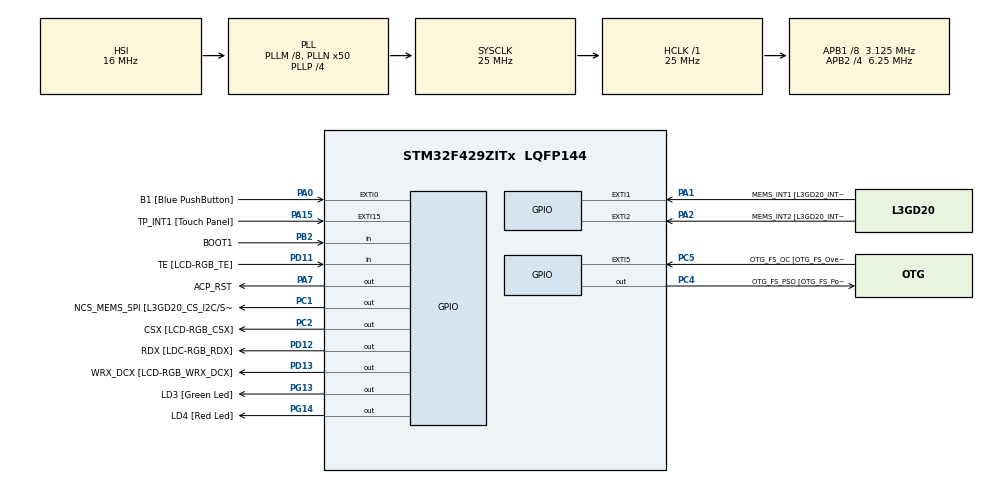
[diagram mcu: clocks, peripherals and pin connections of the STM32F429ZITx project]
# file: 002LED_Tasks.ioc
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Mcu.Family=STM32F4
Mcu.Name=STM32F429ZITx
Mcu.Package=LQFP144
NVIC.PriorityGroup=NVIC_PRIORITYGROUP_4
NVIC.TIM6_DAC_IRQn=true\:0\:0\:false\:false\:true\:false\:true
NVIC.TimeBase=TIM6_DAC_IRQn
NVIC.TimeBaseIP=TIM6
PA0/WKUP.GPIO_Label=B1 [Blue PushButton]
PA0/WKUP.GPIO_ModeDefaultEXTI=GPIO_MODE_EVT_RISING
PA0/WKUP.GPIO_PuPd=GPIO_NOPULL
PA0/WKUP.Signal=GPXTI0
PA1.GPIO_Label=MEMS_INT1 [L3GD20_INT1]
PA1.GPIO_ModeDefaultEXTI=GPIO_MODE_EVT_RISING
PA1.GPIO_PuPd=GPIO_NOPULL
PA1.Signal=GPXTI1
PA10.GPIO_Label=STLINK_TX [STM32F103CBT6_PA2]
PA10.Signal=USART1_RX
PA11.GPIO_Label=R4
PA11.GPIO_Mode=GPIO_MODE_AF_PP
PA11.GPIO_PuPd=GPIO_NOPULL
PA11.GPIO_Speed=GPIO_SPEED_FREQ_LOW
PA11.Signal=LTDC_R4
PA12.GPIO_Label=R5
PA12.GPIO_Mode=GPIO_MODE_AF_PP
PA12.GPIO_PuPd=GPIO_NOPULL
PA12.GPIO_Speed=GPIO_SPEED_FREQ_LOW
PA12.Signal=LTDC_R5
PA13.GPIO_Label=SWDIO
PA13.Signal=SYS_JTMS-SWDIO
PA14.GPIO_Label=SWCLK
PA14.Signal=SYS_JTCK-SWCLK
PA15.GPIO_Label=TP_INT1 [Touch Panel]
PA15.GPIO_ModeDefaultEXTI=GPIO_MODE_EVT_RISING
PA15.GPIO_PuPd=GPIO_NOPULL
PA15.Signal=GPXTI15
PA2.GPIO_Label=MEMS_INT2 [L3GD20_INT2]
PA2.GPIO_ModeDefaultEXTI=GPIO_MODE_EVT_RISING
PA2.GPIO_PuPd=GPIO_NOPULL
PA2.Signal=GPXTI2
PA3.GPIO_Label=B5
PA3.GPIO_Mode=GPIO_MODE_AF_PP
PA3.GPIO_PuPd=GPIO_NOPULL
PA3.GPIO_Speed=GPIO_SPEED_FREQ_LOW
PA3.Signal=LTDC_B5
PA4.GPIO_Label=VSYNC
PA4.GPIO_Mode=GPIO_MODE_AF_PP
PA4.GPIO_PuPd=GPIO_NOPULL
PA4.GPIO_Speed=GPIO_SPEED_FREQ_LOW
PA4.Signal=LTDC_VSYNC
PA6.GPIO_Label=G2
PA6.GPIO_Mode=GPIO_MODE_AF_PP
PA6.GPIO_PuPd=GPIO_NOPULL
PA6.GPIO_Speed=GPIO_SPEED_FREQ_LOW
PA6.Signal=LTDC_G2
PA7.GPIO_Label=ACP_RST
PA7.GPIO_Mode=GPIO_MODE_OUTPUT_PP
PA7.GPIO_PuPd=GPIO_NOPULL
PA7.GPIO_Speed=GPIO_SPEED_FREQ_LOW
PA7.Signal=GPIO_Output
PA8.GPIO_Label=I2C3_SCL [ACP/RF_SCL]
PA8.GPIO_Mode=GPIO_MODE_AF_OD
PA8.GPIO_PuPd=GPIO_NOPULL
PA8.GPIO_Speed=GPIO_SPEED_FREQ_LOW
PA8.Signal=I2C3_SCL
PA9.GPIO_Label=STLINK_RX [STM32F103CBT6_PA3]
PA9.Signal=USART1_TX
PB0.GPIO_Label=R3
PB0.GPIO_Mode=GPIO_MODE_AF_PP
PB0.GPIO_PuPd=GPIO_NOPULL
PB0.GPIO_Speed=GPIO_SPEED_FREQ_LOW
PB0.Signal=LTDC_R3
PB1.GPIO_Label=R6
PB1.GPIO_Mode=GPIO_MODE_AF_PP
PB1.GPIO_PuPd=GPIO_NOPULL
PB1.GPIO_Speed=GPIO_SPEED_FREQ_LOW
PB1.Signal=LTDC_R6
PB10.GPIO_Label=G4
PB10.GPIO_Mode=GPIO_MODE_AF_PP
PB10.GPIO_PuPd=GPIO_NOPULL
PB10.GPIO_Speed=GPIO_SPEED_FREQ_LOW
PB10.Signal=LTDC_G4
PB11.GPIO_Label=G5
PB11.GPIO_Mode=GPIO_MODE_AF_PP
PB11.GPIO_PuPd=GPIO_NOPULL
PB11.GPIO_Speed=GPIO_SPEED_FREQ_LOW
PB11.Signal=LTDC_G5
PB12.GPIO_Label=OTG_HS_ID
PB12.GPIO_Mode=GPIO_MODE_AF_PP
PB12.GPIO_PuPd=GPIO_NOPULL
PB12.GPIO_Speed=GPIO_SPEED_FREQ_LOW
PB12.Signal=USB_OTG_HS_ID
PB13.GPIO_Label=VBUS_HS
PB13.GPIO_Mode=GPIO_MODE_INPUT
PB13.GPIO_PuPd=GPIO_NOPULL
PB13.Signal=USB_OTG_HS_VBUS
PB14.GPIO_Label=OTG_HS_DM
PB14.GPIO_Mode=GPIO_MODE_AF_PP
PB14.GPIO_PuPd=GPIO_NOPULL
PB14.GPIO_Speed=GPIO_SPEED_FREQ_LOW
PB14.Signal=USB_OTG_HS_DM
PB15.GPIO_Label=OTG_HS_DP
PB15.GPIO_Mode=GPIO_MODE_AF_PP
PB15.GPIO_PuPd=GPIO_NOPULL
PB15.GPIO_Speed=GPIO_SPEED_FREQ_LOW
PB15.Signal=USB_OTG_HS_DP
PB2/BOOT1.GPIO_Label=BOOT1
PB2/BOOT1.GPIO_Mode=GPIO_MODE_INPUT
PB2/BOOT1.GPIO_PuPd=GPIO_NOPULL
PB2/BOOT1.Signal=GPIO_Input
PB5.GPIO_Label=SDCKE1
PB5.GPIO_Mode=GPIO_MODE_AF_PP
PB5.GPIO_PuPd=GPIO_NOPULL
PB5.GPIO_Speed=GPIO_SPEED_FREQ_VERY_HIGH
PB5.Signal=FMC_SDCKE1
PB6.GPIO_Label=SDNE1 [SDRAM_CS]
PB6.GPIO_Mode=GPIO_MODE_AF_PP
PB6.GPIO_PuPd=GPIO_NOPULL
PB6.GPIO_Speed=GPIO_SPEED_FREQ_VERY_HIGH
PB6.Signal=FMC_SDNE1
PB8.GPIO_Label=B6
PB8.GPIO_Mode=GPIO_MODE_AF_PP
PB8.GPIO_PuPd=GPIO_NOPULL
PB8.GPIO_Speed=GPIO_SPEED_FREQ_LOW
PB8.Signal=LTDC_B6
PB9.GPIO_Label=B7
PB9.GPIO_Mode=GPIO_MODE_AF_PP
PB9.GPIO_PuPd=GPIO_NOPULL
PB9.GPIO_Speed=GPIO_SPEED_FREQ_LOW
PB9.Signal=LTDC_B7
PC0.GPIO_Label=SDNWE
PC0.GPIO_Mode=GPIO_MODE_AF_PP
PC0.GPIO_PuPd=GPIO_NOPULL
PC0.GPIO_Speed=GPIO_SPEED_FREQ_VERY_HIGH
PC0.Signal=FMC_SDNWE
PC1.GPIO_Label=NCS_MEMS_SPI [L3GD20_CS_I2C/SPI]
PC1.GPIO_Mode=GPIO_MODE_OUTPUT_PP
PC1.GPIO_PuPd=GPIO_NOPULL
PC1.GPIO_Speed=GPIO_SPEED_FREQ_LOW
PC1.Signal=GPIO_Output
PC10.GPIO_Label=R2
PC10.GPIO_Mode=GPIO_MODE_AF_PP
PC10.GPIO_PuPd=GPIO_NOPULL
PC10.GPIO_Speed=GPIO_SPEED_FREQ_LOW
PC10.Signal=LTDC_R2
PC14/OSC32_IN.GPIO_Label=PC14-OSC32_IN
PC14/OSC32_IN.Signal=RCC_OSC32_IN
PC15/OSC32_OUT.GPIO_Label=PC15-OSC32_OUT
PC15/OSC32_OUT.Signal=RCC_OSC32_OUT
PC2.GPIO_Label=CSX [LCD-RGB_CSX]
PC2.GPIO_Mode=GPIO_MODE_OUTPUT_PP
PC2.GPIO_PuPd=GPIO_NOPULL
PC2.GPIO_Speed=GPIO_SPEED_FREQ_LOW
PC2.Signal=GPIO_Output
PC4.GPIO_Label=OTG_FS_PSO [OTG_FS_PowerSwitchOn]
PC4.GPIO_Mode=GPIO_MODE_OUTPUT_PP
PC4.GPIO_PuPd=GPIO_NOPULL
PC4.GPIO_Speed=GPIO_SPEED_FREQ_LOW
PC4.Signal=GPIO_Output
PC5.GPIO_Label=OTG_FS_OC [OTG_FS_OverCurrent]
PC5.GPIO_ModeDefaultEXTI=GPIO_MODE_EVT_RISING
PC5.Signal=GPXTI5
PC6.GPIO_Label=HSYNC
PC6.GPIO_Mode=GPIO_MODE_AF_PP
PC6.GPIO_PuPd=GPIO_NOPULL
PC6.GPIO_Speed=GPIO_SPEED_FREQ_LOW
PC6.Signal=LTDC_HSYNC
PC7.GPIO_Label=G6
PC7.GPIO_Mode=GPIO_MODE_AF_PP
PC7.GPIO_PuPd=GPIO_NOPULL
PC7.GPIO_Speed=GPIO_SPEED_FREQ_LOW
PC7.Signal=LTDC_G6
PC9.GPIO_Label=I2C3_SDA [ACP/RF_SDA]
PC9.GPIO_Mode=GPIO_MODE_AF_OD
PC9.GPIO_PuPd=GPIO_NOPULL
PC9.GPIO_Speed=GPIO_SPEED_FREQ_LOW
PC9.Signal=I2C3_SDA
PD0.GPIO_Label=D2
PD0.GPIO_Mode=GPIO_MODE_AF_PP
PD0.GPIO_PuPd=GPIO_NOPULL
PD0.GPIO_Speed=GPIO_SPEED_FREQ_VERY_HIGH
PD0.Signal=FMC_D2_DA2
PD1.GPIO_Label=D3
PD1.GPIO_Mode=GPIO_MODE_AF_PP
PD1.GPIO_PuPd=GPIO_NOPULL
PD1.GPIO_Speed=GPIO_SPEED_FREQ_VERY_HIGH
PD1.Signal=FMC_D3_DA3
PD10.GPIO_Label=D15
PD10.GPIO_Mode=GPIO_MODE_AF_PP
PD10.GPIO_PuPd=GPIO_NOPULL
PD10.GPIO_Speed=GPIO_SPEED_FREQ_VERY_HIGH
PD10.Signal=FMC_D15_DA15
PD11.GPIO_Label=TE [LCD-RGB_TE]
PD11.GPIO_Mode=GPIO_MODE_INPUT
PD11.GPIO_PuPd=GPIO_NOPULL
PD11.Signal=GPIO_Input
PD12.GPIO_Label=RDX [LDC-RGB_RDX]
PD12.GPIO_Mode=GPIO_MODE_OUTPUT_PP
PD12.GPIO_PuPd=GPIO_NOPULL
PD12.GPIO_Speed=GPIO_SPEED_FREQ_LOW
PD12.Signal=GPIO_Output
PD13.GPIO_Label=WRX_DCX [LCD-RGB_WRX_DCX]
PD13.GPIO_Mode=GPIO_MODE_OUTPUT_PP
PD13.GPIO_PuPd=GPIO_NOPULL
PD13.GPIO_Speed=GPIO_SPEED_FREQ_LOW
PD13.Signal=GPIO_Output
PD14.GPIO_Label=D0
PD14.GPIO_Mode=GPIO_MODE_AF_PP
PD14.GPIO_PuPd=GPIO_NOPULL
PD14.GPIO_Speed=GPIO_SPEED_FREQ_VERY_HIGH
PD14.Signal=FMC_D0_DA0
PD15.GPIO_Label=D1
PD15.GPIO_Mode=GPIO_MODE_AF_PP
PD15.GPIO_PuPd=GPIO_NOPULL
PD15.GPIO_Speed=GPIO_SPEED_FREQ_VERY_HIGH
PD15.Signal=FMC_D1_DA1
PD3.GPIO_Label=G7
PD3.GPIO_Mode=GPIO_MODE_AF_PP
PD3.GPIO_PuPd=GPIO_NOPULL
PD3.GPIO_Speed=GPIO_SPEED_FREQ_LOW
PD3.Signal=LTDC_G7
PD6.GPIO_Label=B2
PD6.GPIO_Mode=GPIO_MODE_AF_PP
PD6.GPIO_PuPd=GPIO_NOPULL
PD6.GPIO_Speed=GPIO_SPEED_FREQ_LOW
PD6.Signal=LTDC_B2
PD8.GPIO_Label=D13
PD8.GPIO_Mode=GPIO_MODE_AF_PP
PD8.GPIO_PuPd=GPIO_NOPULL
PD8.GPIO_Speed=GPIO_SPEED_FREQ_VERY_HIGH
PD8.Signal=FMC_D13_DA13
PD9.GPIO_Label=D14
PD9.GPIO_Mode=GPIO_MODE_AF_PP
PD9.GPIO_PuPd=GPIO_NOPULL
PD9.GPIO_Speed=GPIO_SPEED_FREQ_VERY_HIGH
PD9.Signal=FMC_D14_DA14
PE0.GPIO_Label=NBL0 [SDRAM_LDQM]
PE0.GPIO_Mode=GPIO_MODE_AF_PP
PE0.GPIO_PuPd=GPIO_NOPULL
PE0.GPIO_Speed=GPIO_SPEED_FREQ_VERY_HIGH
PE0.Signal=FMC_NBL0
PE1.GPIO_Label=NBL1 [SDRAM_UDQM]
PE1.GPIO_Mode=GPIO_MODE_AF_PP
PE1.GPIO_PuPd=GPIO_NOPULL
PE1.GPIO_Speed=GPIO_SPEED_FREQ_VERY_HIGH
PE1.Signal=FMC_NBL1
PE10.GPIO_Label=D7
PE10.GPIO_Mode=GPIO_MODE_AF_PP
PE10.GPIO_PuPd=GPIO_NOPULL
PE10.GPIO_Speed=GPIO_SPEED_FREQ_VERY_HIGH
PE10.Signal=FMC_D7_DA7
PE11.GPIO_Label=D8
PE11.GPIO_Mode=GPIO_MODE_AF_PP
PE11.GPIO_PuPd=GPIO_NOPULL
PE11.GPIO_Speed=GPIO_SPEED_FREQ_VERY_HIGH
PE11.Signal=FMC_D8_DA8
PE12.GPIO_Label=D9
PE12.GPIO_Mode=GPIO_MODE_AF_PP
PE12.GPIO_PuPd=GPIO_NOPULL
PE12.GPIO_Speed=GPIO_SPEED_FREQ_VERY_HIGH
PE12.Signal=FMC_D9_DA9
PE13.GPIO_Label=D10
PE13.GPIO_Mode=GPIO_MODE_AF_PP
PE13.GPIO_PuPd=GPIO_NOPULL
PE13.GPIO_Speed=GPIO_SPEED_FREQ_VERY_HIGH
PE13.Signal=FMC_D10_DA10
PE14.GPIO_Label=D11
PE14.GPIO_Mode=GPIO_MODE_AF_PP
PE14.GPIO_PuPd=GPIO_NOPULL
PE14.GPIO_Speed=GPIO_SPEED_FREQ_VERY_HIGH
PE14.Signal=FMC_D11_DA11
PE15.GPIO_Label=D12
PE15.GPIO_Mode=GPIO_MODE_AF_PP
PE15.GPIO_PuPd=GPIO_NOPULL
PE15.GPIO_Speed=GPIO_SPEED_FREQ_VERY_HIGH
PE15.Signal=FMC_D12_DA12
PE7.GPIO_Label=D4
PE7.GPIO_Mode=GPIO_MODE_AF_PP
PE7.GPIO_PuPd=GPIO_NOPULL
PE7.GPIO_Speed=GPIO_SPEED_FREQ_VERY_HIGH
PE7.Signal=FMC_D4_DA4
PE8.GPIO_Label=D5
PE8.GPIO_Mode=GPIO_MODE_AF_PP
PE8.GPIO_PuPd=GPIO_NOPULL
PE8.GPIO_Speed=GPIO_SPEED_FREQ_VERY_HIGH
PE8.Signal=FMC_D5_DA5
PE9.GPIO_Label=D6
PE9.GPIO_Mode=GPIO_MODE_AF_PP
PE9.GPIO_PuPd=GPIO_NOPULL
PE9.GPIO_Speed=GPIO_SPEED_FREQ_VERY_HIGH
PE9.Signal=FMC_D6_DA6
PF0.GPIO_Label=A0
PF0.GPIO_Mode=GPIO_MODE_AF_PP
PF0.GPIO_PuPd=GPIO_NOPULL
PF0.GPIO_Speed=GPIO_SPEED_FREQ_VERY_HIGH
PF0.Signal=FMC_A0
PF1.GPIO_Label=A1
PF1.GPIO_Mode=GPIO_MODE_AF_PP
PF1.GPIO_PuPd=GPIO_NOPULL
PF1.GPIO_Speed=GPIO_SPEED_FREQ_VERY_HIGH
PF1.Signal=FMC_A1
PF10.GPIO_Label=ENABLE [LCD-RGB_ENABLE]
PF10.GPIO_Mode=GPIO_MODE_AF_PP
PF10.GPIO_PuPd=GPIO_NOPULL
PF10.GPIO_Speed=GPIO_SPEED_FREQ_LOW
PF10.Signal=LTDC_DE
PF11.GPIO_Label=SDNRAS
PF11.GPIO_Mode=GPIO_MODE_AF_PP
PF11.GPIO_PuPd=GPIO_NOPULL
PF11.GPIO_Speed=GPIO_SPEED_FREQ_VERY_HIGH
PF11.Signal=FMC_SDNRAS
PF12.GPIO_Label=A6
PF12.GPIO_Mode=GPIO_MODE_AF_PP
PF12.GPIO_PuPd=GPIO_NOPULL
PF12.GPIO_Speed=GPIO_SPEED_FREQ_VERY_HIGH
PF12.Signal=FMC_A6
PF13.GPIO_Label=A7
PF13.GPIO_Mode=GPIO_MODE_AF_PP
PF13.GPIO_PuPd=GPIO_NOPULL
PF13.GPIO_Speed=GPIO_SPEED_FREQ_VERY_HIGH
PF13.Signal=FMC_A7
PF14.GPIO_Label=A8
PF14.GPIO_Mode=GPIO_MODE_AF_PP
PF14.GPIO_PuPd=GPIO_NOPULL
PF14.GPIO_Speed=GPIO_SPEED_FREQ_VERY_HIGH
PF14.Signal=FMC_A8
PF15.GPIO_Label=A9
PF15.GPIO_Mode=GPIO_MODE_AF_PP
PF15.GPIO_PuPd=GPIO_NOPULL
PF15.GPIO_Speed=GPIO_SPEED_FREQ_VERY_HIGH
PF15.Signal=FMC_A9
PF2.GPIO_Label=A2
PF2.GPIO_Mode=GPIO_MODE_AF_PP
PF2.GPIO_PuPd=GPIO_NOPULL
PF2.GPIO_Speed=GPIO_SPEED_FREQ_VERY_HIGH
PF2.Signal=FMC_A2
PF3.GPIO_Label=A3
PF3.GPIO_Mode=GPIO_MODE_AF_PP
PF3.GPIO_PuPd=GPIO_NOPULL
PF3.GPIO_Speed=GPIO_SPEED_FREQ_VERY_HIGH
PF3.Signal=FMC_A3
PF4.GPIO_Label=A4
PF4.GPIO_Mode=GPIO_MODE_AF_PP
PF4.GPIO_PuPd=GPIO_NOPULL
PF4.GPIO_Speed=GPIO_SPEED_FREQ_VERY_HIGH
PF4.Signal=FMC_A4
PF5.GPIO_Label=A5
PF5.GPIO_Mode=GPIO_MODE_AF_PP
PF5.GPIO_PuPd=GPIO_NOPULL
PF5.GPIO_Speed=GPIO_SPEED_FREQ_VERY_HIGH
PF5.Signal=FMC_A5
PF7.GPIO_Label=SPI5_SCK [L3GD20_SCL/SPC]
PF7.GPIO_Mode=GPIO_MODE_AF_PP
PF7.GPIO_PuPd=GPIO_NOPULL
PF7.GPIO_Speed=GPIO_SPEED_FREQ_LOW
PF7.Signal=SPI5_SCK
PF8.GPIO_Label=SPI5_MISO [L3GD20_SDO]
PF8.GPIO_Mode=GPIO_MODE_AF_PP
PF8.GPIO_PuPd=GPIO_NOPULL
PF8.GPIO_Speed=GPIO_SPEED_FREQ_LOW
PF8.Signal=SPI5_MISO
PF9.GPIO_Label=SPI5_MOSI [L3GD20_SDA/SDI/SDO]
PF9.GPIO_Mode=GPIO_MODE_AF_PP
PF9.GPIO_PuPd=GPIO_NOPULL
PF9.GPIO_Speed=GPIO_SPEED_FREQ_LOW
PF9.Signal=SPI5_MOSI
PG0.GPIO_Label=A10
PG0.GPIO_Mode=GPIO_MODE_AF_PP
PG0.GPIO_PuPd=GPIO_NOPULL
PG0.GPIO_Speed=GPIO_SPEED_FREQ_VERY_HIGH
PG0.Signal=FMC_A10
PG1.GPIO_Label=A11
PG1.GPIO_Mode=GPIO_MODE_AF_PP
PG1.GPIO_PuPd=GPIO_NOPULL
PG1.GPIO_Speed=GPIO_SPEED_FREQ_VERY_HIGH
PG1.Signal=FMC_A11
PG10.GPIO_Label=G3
PG10.GPIO_Mode=GPIO_MODE_AF_PP
PG10.GPIO_PuPd=GPIO_NOPULL
PG10.GPIO_Speed=GPIO_SPEED_FREQ_LOW
PG10.Signal=LTDC_G3
PG11.GPIO_Label=B3
PG11.GPIO_Mode=GPIO_MODE_AF_PP
PG11.GPIO_PuPd=GPIO_NOPULL
PG11.GPIO_Speed=GPIO_SPEED_FREQ_LOW
PG11.Signal=LTDC_B3
PG12.GPIO_Label=B4
PG12.GPIO_Mode=GPIO_MODE_AF_PP
PG12.GPIO_PuPd=GPIO_NOPULL
PG12.GPIO_Speed=GPIO_SPEED_FREQ_LOW
PG12.Signal=LTDC_B4
PG13.GPIO_Label=LD3 [Green Led]
PG13.GPIO_Mode=GPIO_MODE_OUTPUT_PP
PG13.GPIO_PuPd=GPIO_NOPULL
PG13.GPIO_Speed=GPIO_SPEED_FREQ_LOW
PG13.Signal=GPIO_Output
PG14.GPIO_Label=LD4 [Red Led]
PG14.GPIO_Mode=GPIO_MODE_OUTPUT_PP
PG14.GPIO_PuPd=GPIO_NOPULL
PG14.GPIO_Speed=GPIO_SPEED_FREQ_LOW
PG14.Signal=GPIO_Output
PG15.GPIO_Label=SDNCAS
PG15.GPIO_Mode=GPIO_MODE_AF_PP
PG15.GPIO_PuPd=GPIO_NOPULL
PG15.GPIO_Speed=GPIO_SPEED_FREQ_VERY_HIGH
PG15.Signal=FMC_SDNCAS
PG4.GPIO_Label=BA0
PG4.GPIO_Mode=GPIO_MODE_AF_PP
PG4.GPIO_PuPd=GPIO_NOPULL
PG4.GPIO_Speed=GPIO_SPEED_FREQ_VERY_HIGH
PG4.Signal=FMC_A14_BA0
PG5.GPIO_Label=BA1
PG5.GPIO_Mode=GPIO_MODE_AF_PP
PG5.GPIO_PuPd=GPIO_NOPULL
PG5.GPIO_Speed=GPIO_SPEED_FREQ_VERY_HIGH
PG5.Signal=FMC_A15_BA1
PG6.GPIO_Label=R7
PG6.GPIO_Mode=GPIO_MODE_AF_PP
PG6.GPIO_PuPd=GPIO_NOPULL
PG6.GPIO_Speed=GPIO_SPEED_FREQ_LOW
PG6.Signal=LTDC_R7
PG7.GPIO_Label=DOTCLK [LCT-RGB_DOTCLK]
PG7.GPIO_Mode=GPIO_MODE_AF_PP
PG7.GPIO_PuPd=GPIO_NOPULL
PG7.GPIO_Speed=GPIO_SPEED_FREQ_LOW
PG7.Signal=LTDC_CLK
PG8.GPIO_Label=SDCLK
PG8.GPIO_Mode=GPIO_MODE_AF_PP
PG8.GPIO_PuPd=GPIO_NOPULL
PG8.GPIO_Speed=GPIO_SPEED_FREQ_VERY_HIGH
PG8.Signal=FMC_SDCLK
PH0/OSC_IN.GPIO_Label=PH0-OSC_IN
PH0/OSC_IN.Signal=RCC_OSC_IN
PH1/OSC_OUT.GPIO_Label=PH1-OSC_OUT
PH1/OSC_OUT.Signal=RCC_OSC_OUT
ProjectManager.HeapSize=0x200
ProjectManager.StackSize=0x400
ProjectManager.TargetToolchain=STM32CubeIDE
RCC.48MHZClocksFreq_Value=14285714.285714285
RCC.AHBFreq_Value=25000000
RCC.APB1CLKDivider=RCC_HCLK_DIV8
RCC.APB1Freq_Value=3125000
RCC.APB1TimFreq_Value=6250000
RCC.APB2CLKDivider=RCC_HCLK_DIV4
RCC.APB2Freq_Value=6250000
RCC.APB2TimFreq_Value=12500000
RCC.CortexFreq_Value=25000000
RCC.HCLKFreq_Value=25000000
RCC.HSE_VALUE=8000000
RCC.HSI_VALUE=16000000
RCC.LSE_VALUE=32768
RCC.PLLM=8
RCC.PLLN=50
RCC.PLLP=RCC_PLLP_DIV4
RCC.PLLQ=7
RCC.SYSCLKFreq_VALUE=25000000
RCC.SYSCLKSource=RCC_SYSCLKSOURCE_PLLCLK
RCC.VCOOutputFreq_Value=100000000
SH.FMC_A0.0=FMC_A0
SH.FMC_A1.0=FMC_A1
SH.FMC_A10.0=FMC_A10
SH.FMC_A11.0=FMC_A11
SH.FMC_A14_BA0.0=FMC_BA0
SH.FMC_A15_BA1.0=FMC_BA1
SH.FMC_A2.0=FMC_A2
SH.FMC_A3.0=FMC_A3
SH.FMC_A4.0=FMC_A4
SH.FMC_A5.0=FMC_A5
SH.FMC_A6.0=FMC_A6
SH.FMC_A7.0=FMC_A7
SH.FMC_A8.0=FMC_A8
SH.FMC_A9.0=FMC_A9
SH.FMC_D0_DA0.0=FMC_D0
SH.FMC_D10_DA10.0=FMC_D10
SH.FMC_D11_DA11.0=FMC_D11
SH.FMC_D12_DA12.0=FMC_D12
SH.FMC_D13_DA13.0=FMC_D13
SH.FMC_D14_DA14.0=FMC_D14
SH.FMC_D15_DA15.0=FMC_D15
SH.FMC_D1_DA1.0=FMC_D1
SH.FMC_D2_DA2.0=FMC_D2
SH.FMC_D3_DA3.0=FMC_D3
SH.FMC_D4_DA4.0=FMC_D4
SH.FMC_D5_DA5.0=FMC_D5
SH.FMC_D6_DA6.0=FMC_D6
SH.FMC_D7_DA7.0=FMC_D7
SH.FMC_D8_DA8.0=FMC_D8
SH.FMC_D9_DA9.0=FMC_D9
SH.FMC_NBL0.0=FMC_NBL0
SH.FMC_NBL1.0=FMC_NBL1
SH.FMC_SDCLK.0=FMC_SDCLK
SH.FMC_SDNCAS.0=FMC_SDNCAS
SH.FMC_SDNRAS.0=FMC_SDNRAS
SH.FMC_SDNWE.0=FMC_SDNWE
VP_SYS_VS_tim6.Mode=TIM6
board=STM32F429I-DISC1

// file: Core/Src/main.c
/* USER CODE BEGIN Header */
/**
  ******************************************************************************
  * @file           : main.c
  * @brief          : Main program body
  ******************************************************************************
  * @attention
  *
  * <h2><center>&copy; Copyright (c) 2021 STMicroelectronics.
  * All rights reserved.</center></h2>
  *
  * This software component is licensed by ST under BSD 3-Clause license,
  * the "License"; You may not use this file except in compliance with the
  * License. You may obtain a copy of the License at:
  *                        opensource.org/licenses/BSD-3-Clause
  *
  ******************************************************************************
  */
/* USER CODE END Header */
#include "main.h"

/* USER CODE BEGIN Includes */

#include "FreeRTOS.h"
#include "task.h"

/* USER CODE END Includes */

/* USER CODE BEGIN PV */

#define DWT_CTRL    (*(volatile uint32_t*)0xE0001000)

/* USER CODE END PV */

void SystemClock_Config(void);
static void MX_GPIO_Init(void);
/* USER CODE BEGIN PFP */

static void led_green_handler(void* parameters);
static void led_red_handler(void* parameters);

/* USER CODE END PFP */

int main(void)
{
  /* USER CODE BEGIN 1 */
	    TaskHandle_t task1_handle;
		TaskHandle_t task2_handle;
		BaseType_t status;

  /* USER CODE END 1 */

  /* MCU Configuration--------------------------------------------------------*/

  /* Reset of all peripherals, Initializes the Flash interface and the Systick. */
  HAL_Init();

  /* Configure the system clock */
  SystemClock_Config();

  /* Initialize all configured peripherals */
  MX_GPIO_Init();
  /* USER CODE BEGIN 2 */

  //CYCLCNT enable
   DWT_CTRL |= ( 1 << 0);

   SEGGER_SYSVIEW_Conf();

   SEGGER_SYSVIEW_Start();

   status = xTaskCreate(led_green_handler, "LED_green_task", 200, NULL, 2, &task1_handle);

   configASSERT(status == pdPASS);

   status = xTaskCreate(led_red_handler, "LED_red_task", 200,NULL, 2, &task2_handle);

   configASSERT(status == pdPASS);

   //start the freeRTOS scheduler
   vTaskStartScheduler();

  /* USER CODE END 2 */

  /* Infinite loop */
  while (1)
  {

  }
}

void SystemClock_Config(void)
{
  RCC_OscInitTypeDef RCC_OscInitStruct = {0};
  RCC_ClkInitTypeDef RCC_ClkInitStruct = {0};

  /** Configure the main internal regulator output voltage
  */
  __HAL_RCC_PWR_CLK_ENABLE();
  __HAL_PWR_VOLTAGESCALING_CONFIG(PWR_REGULATOR_VOLTAGE_SCALE3);
  /** Initializes the RCC Oscillators according to the specified parameters
  * in the RCC_OscInitTypeDef structure.
  */
  RCC_OscInitStruct.OscillatorType = RCC_OSCILLATORTYPE_HSI;
  RCC_OscInitStruct.HSIState = RCC_HSI_ON;
  RCC_OscInitStruct.HSICalibrationValue = RCC_HSICALIBRATION_DEFAULT;
  RCC_OscInitStruct.PLL.PLLState = RCC_PLL_ON;
  RCC_OscInitStruct.PLL.PLLSource = RCC_PLLSOURCE_HSI;
  RCC_OscInitStruct.PLL.PLLM = 8;
  RCC_OscInitStruct.PLL.PLLN = 50;
  RCC_OscInitStruct.PLL.PLLP = RCC_PLLP_DIV4;
  RCC_OscInitStruct.PLL.PLLQ = 7;
  if (HAL_RCC_OscConfig(&RCC_OscInitStruct) != HAL_OK)
  {
    Error_Handler();
  }
  /** Initializes the CPU, AHB and APB buses clocks
  */
  RCC_ClkInitStruct.ClockType = RCC_CLOCKTYPE_HCLK|RCC_CLOCKTYPE_SYSCLK
                              |RCC_CLOCKTYPE_PCLK1|RCC_CLOCKTYPE_PCLK2;
  RCC_ClkInitStruct.SYSCLKSource = RCC_SYSCLKSOURCE_PLLCLK;
  RCC_ClkInitStruct.AHBCLKDivider = RCC_SYSCLK_DIV1;
  RCC_ClkInitStruct.APB1CLKDivider = RCC_HCLK_DIV8;
  RCC_ClkInitStruct.APB2CLKDivider = RCC_HCLK_DIV4;

  if (HAL_RCC_ClockConfig(&RCC_ClkInitStruct, FLASH_LATENCY_0) != HAL_OK)
  {
    Error_Handler();
  }
}

static void MX_GPIO_Init(void)
{
  GPIO_InitTypeDef GPIO_InitStruct = {0};

  /* GPIO Ports Clock Enable */
  __HAL_RCC_GPIOC_CLK_ENABLE();
  __HAL_RCC_GPIOF_CLK_ENABLE();
  __HAL_RCC_GPIOH_CLK_ENABLE();
  __HAL_RCC_GPIOA_CLK_ENABLE();
  __HAL_RCC_GPIOB_CLK_ENABLE();
  __HAL_RCC_GPIOG_CLK_ENABLE();
  __HAL_RCC_GPIOE_CLK_ENABLE();
  __HAL_RCC_GPIOD_CLK_ENABLE();

  /*Configure GPIO pin Output Level */
  HAL_GPIO_WritePin(GPIOC, NCS_MEMS_SPI_Pin|CSX_Pin|OTG_FS_PSO_Pin, GPIO_PIN_RESET);

  /*Configure GPIO pin Output Level */
  HAL_GPIO_WritePin(ACP_RST_GPIO_Port, ACP_RST_Pin, GPIO_PIN_RESET);

  /*Configure GPIO pin Output Level */
  HAL_GPIO_WritePin(GPIOD, RDX_Pin|WRX_DCX_Pin, GPIO_PIN_RESET);

  /*Configure GPIO pin Output Level */
  HAL_GPIO_WritePin(GPIOG, LD3_Pin|LD4_Pin, GPIO_PIN_RESET);

  /*Configure GPIO pins : A0_Pin A1_Pin A2_Pin A3_Pin
                           A4_Pin A5_Pin SDNRAS_Pin A6_Pin
                           A7_Pin A8_Pin A9_Pin */
  GPIO_InitStruct.Pin = A0_Pin|A1_Pin|A2_Pin|A3_Pin
                          |A4_Pin|A5_Pin|SDNRAS_Pin|A6_Pin
                          |A7_Pin|A8_Pin|A9_Pin;
  GPIO_InitStruct.Mode = GPIO_MODE_AF_PP;
  GPIO_InitStruct.Pull = GPIO_NOPULL;
  GPIO_InitStruct.Speed = GPIO_SPEED_FREQ_VERY_HIGH;
  GPIO_InitStruct.Alternate = GPIO_AF12_FMC;
  HAL_GPIO_Init(GPIOF, &GPIO_InitStruct);

  /*Configure GPIO pins : SPI5_SCK_Pin SPI5_MISO_Pin SPI5_MOSI_Pin */
  GPIO_InitStruct.Pin = SPI5_SCK_Pin|SPI5_MISO_Pin|SPI5_MOSI_Pin;
  GPIO_InitStruct.Mode = GPIO_MODE_AF_PP;
  GPIO_InitStruct.Pull = GPIO_NOPULL;
  GPIO_InitStruct.Speed = GPIO_SPEED_FREQ_LOW;
  GPIO_InitStruct.Alternate = GPIO_AF5_SPI5;
  HAL_GPIO_Init(GPIOF, &GPIO_InitStruct);

  /*Configure GPIO pin : ENABLE_Pin */
  GPIO_InitStruct.Pin = ENABLE_Pin;
  GPIO_InitStruct.Mode = GPIO_MODE_AF_PP;
  GPIO_InitStruct.Pull = GPIO_NOPULL;
  GPIO_InitStruct.Speed = GPIO_SPEED_FREQ_LOW;
  GPIO_InitStruct.Alternate = GPIO_AF14_LTDC;
  HAL_GPIO_Init(ENABLE_GPIO_Port, &GPIO_InitStruct);

  /*Configure GPIO pin : SDNWE_Pin */
  GPIO_InitStruct.Pin = SDNWE_Pin;
  GPIO_InitStruct.Mode = GPIO_MODE_AF_PP;
  GPIO_InitStruct.Pull = GPIO_NOPULL;
  GPIO_InitStruct.Speed = GPIO_SPEED_FREQ_VERY_HIGH;
  GPIO_InitStruct.Alternate = GPIO_AF12_FMC;
  HAL_GPIO_Init(SDNWE_GPIO_Port, &GPIO_InitStruct);

  /*Configure GPIO pins : NCS_MEMS_SPI_Pin CSX_Pin OTG_FS_PSO_Pin */
  GPIO_InitStruct.Pin = NCS_MEMS_SPI_Pin|CSX_Pin|OTG_FS_PSO_Pin;
  GPIO_InitStruct.Mode = GPIO_MODE_OUTPUT_PP;
  GPIO_InitStruct.Pull = GPIO_NOPULL;
  GPIO_InitStruct.Speed = GPIO_SPEED_FREQ_LOW;
  HAL_GPIO_Init(GPIOC, &GPIO_InitStruct);

  /*Configure GPIO pins : B1_Pin MEMS_INT1_Pin MEMS_INT2_Pin TP_INT1_Pin */
  GPIO_InitStruct.Pin = B1_Pin|MEMS_INT1_Pin|MEMS_INT2_Pin|TP_INT1_Pin;
  GPIO_InitStruct.Mode = GPIO_MODE_EVT_RISING;
  GPIO_InitStruct.Pull = GPIO_NOPULL;
  HAL_GPIO_Init(GPIOA, &GPIO_InitStruct);

  /*Configure GPIO pins : B5_Pin VSYNC_Pin G2_Pin R4_Pin
                           R5_Pin */
  GPIO_InitStruct.Pin = B5_Pin|VSYNC_Pin|G2_Pin|R4_Pin
                          |R5_Pin;
  GPIO_InitStruct.Mode = GPIO_MODE_AF_PP;
  GPIO_InitStruct.Pull = GPIO_NOPULL;
  GPIO_InitStruct.Speed = GPIO_SPEED_FREQ_LOW;
  GPIO_InitStruct.Alternate = GPIO_AF14_LTDC;
  HAL_GPIO_Init(GPIOA, &GPIO_InitStruct);

  /*Configure GPIO pin : ACP_RST_Pin */
  GPIO_InitStruct.Pin = ACP_RST_Pin;
  GPIO_InitStruct.Mode = GPIO_MODE_OUTPUT_PP;
  GPIO_InitStruct.Pull = GPIO_NOPULL;
  GPIO_InitStruct.Speed = GPIO_SPEED_FREQ_LOW;
  HAL_GPIO_Init(ACP_RST_GPIO_Port, &GPIO_InitStruct);

  /*Configure GPIO pin : OTG_FS_OC_Pin */
  GPIO_InitStruct.Pin = OTG_FS_OC_Pin;
  GPIO_InitStruct.Mode = GPIO_MODE_EVT_RISING;
  GPIO_InitStruct.Pull = GPIO_NOPULL;
  HAL_GPIO_Init(OTG_FS_OC_GPIO_Port, &GPIO_InitStruct);

  /*Configure GPIO pins : R3_Pin R6_Pin */
  GPIO_InitStruct.Pin = R3_Pin|R6_Pin;
  GPIO_InitStruct.Mode = GPIO_MODE_AF_PP;
  GPIO_InitStruct.Pull = GPIO_NOPULL;
  GPIO_InitStruct.Speed = GPIO_SPEED_FREQ_LOW;
  GPIO_InitStruct.Alternate = GPIO_AF9_LTDC;
  HAL_GPIO_Init(GPIOB, &GPIO_InitStruct);

  /*Configure GPIO pin : BOOT1_Pin */
  GPIO_InitStruct.Pin = BOOT1_Pin;
  GPIO_InitStruct.Mode = GPIO_MODE_INPUT;
  GPIO_InitStruct.Pull = GPIO_NOPULL;
  HAL_GPIO_Init(BOOT1_GPIO_Port, &GPIO_InitStruct);

  /*Configure GPIO pins : A10_Pin A11_Pin BA0_Pin BA1_Pin
                           SDCLK_Pin SDNCAS_Pin */
  GPIO_InitStruct.Pin = A10_Pin|A11_Pin|BA0_Pin|BA1_Pin
                          |SDCLK_Pin|SDNCAS_Pin;
  GPIO_InitStruct.Mode = GPIO_MODE_AF_PP;
  GPIO_InitStruct.Pull = GPIO_NOPULL;
  GPIO_InitStruct.Speed = GPIO_SPEED_FREQ_VERY_HIGH;
  GPIO_InitStruct.Alternate = GPIO_AF12_FMC;
  HAL_GPIO_Init(GPIOG, &GPIO_InitStruct);

  /*Configure GPIO pins : D4_Pin D5_Pin D6_Pin D7_Pin
                           D8_Pin D9_Pin D10_Pin D11_Pin
                           D12_Pin NBL0_Pin NBL1_Pin */
  GPIO_InitStruct.Pin = D4_Pin|D5_Pin|D6_Pin|D7_Pin
                          |D8_Pin|D9_Pin|D10_Pin|D11_Pin
                          |D12_Pin|NBL0_Pin|NBL1_Pin;
  GPIO_InitStruct.Mode = GPIO_MODE_AF_PP;
  GPIO_InitStruct.Pull = GPIO_NOPULL;
  GPIO_InitStruct.Speed = GPIO_SPEED_FREQ_VERY_HIGH;
  GPIO_InitStruct.Alternate = GPIO_AF12_FMC;
  HAL_GPIO_Init(GPIOE, &GPIO_InitStruct);

  /*Configure GPIO pins : G4_Pin G5_Pin B6_Pin B7_Pin */
  GPIO_InitStruct.Pin = G4_Pin|G5_Pin|B6_Pin|B7_Pin;
  GPIO_InitStruct.Mode = GPIO_MODE_AF_PP;
  GPIO_InitStruct.Pull = GPIO_NOPULL;
  GPIO_InitStruct.Speed = GPIO_SPEED_FREQ_LOW;
  GPIO_InitStruct.Alternate = GPIO_AF14_LTDC;
  HAL_GPIO_Init(GPIOB, &GPIO_InitStruct);

  /*Configure GPIO pins : OTG_HS_ID_Pin OTG_HS_DM_Pin OTG_HS_DP_Pin */
  GPIO_InitStruct.Pin = OTG_HS_ID_Pin|OTG_HS_DM_Pin|OTG_HS_DP_Pin;
  GPIO_InitStruct.Mode = GPIO_MODE_AF_PP;
  GPIO_InitStruct.Pull = GPIO_NOPULL;
  GPIO_InitStruct.Speed = GPIO_SPEED_FREQ_LOW;
  GPIO_InitStruct.Alternate = GPIO_AF12_OTG_HS_FS;
  HAL_GPIO_Init(GPIOB, &GPIO_InitStruct);

  /*Configure GPIO pin : VBUS_HS_Pin */
  GPIO_InitStruct.Pin = VBUS_HS_Pin;
  GPIO_InitStruct.Mode = GPIO_MODE_INPUT;
  GPIO_InitStruct.Pull = GPIO_NOPULL;
  HAL_GPIO_Init(VBUS_HS_GPIO_Port, &GPIO_InitStruct);

  /*Configure GPIO pins : D13_Pin D14_Pin D15_Pin D0_Pin
                           D1_Pin D2_Pin D3_Pin */
  GPIO_InitStruct.Pin = D13_Pin|D14_Pin|D15_Pin|D0_Pin
                          |D1_Pin|D2_Pin|D3_Pin;
  GPIO_InitStruct.Mode = GPIO_MODE_AF_PP;
  GPIO_InitStruct.Pull = GPIO_NOPULL;
  GPIO_InitStruct.Speed = GPIO_SPEED_FREQ_VERY_HIGH;
  GPIO_InitStruct.Alternate = GPIO_AF12_FMC;
  HAL_GPIO_Init(GPIOD, &GPIO_InitStruct);

  /*Configure GPIO pin : TE_Pin */
  GPIO_InitStruct.Pin = TE_Pin;
  GPIO_InitStruct.Mode = GPIO_MODE_INPUT;
  GPIO_InitStruct.Pull = GPIO_NOPULL;
  HAL_GPIO_Init(TE_GPIO_Port, &GPIO_InitStruct);

  /*Configure GPIO pins : RDX_Pin WRX_DCX_Pin */
  GPIO_InitStruct.Pin = RDX_Pin|WRX_DCX_Pin;
  GPIO_InitStruct.Mode = GPIO_MODE_OUTPUT_PP;
  GPIO_InitStruct.Pull = GPIO_NOPULL;
  GPIO_InitStruct.Speed = GPIO_SPEED_FREQ_LOW;
  HAL_GPIO_Init(GPIOD, &GPIO_InitStruct);

  /*Configure GPIO pins : R7_Pin DOTCLK_Pin B3_Pin */
  GPIO_InitStruct.Pin = R7_Pin|DOTCLK_Pin|B3_Pin;
  GPIO_InitStruct.Mode = GPIO_MODE_AF_PP;
  GPIO_InitStruct.Pull = GPIO_NOPULL;
  GPIO_InitStruct.Speed = GPIO_SPEED_FREQ_LOW;
  GPIO_InitStruct.Alternate = GPIO_AF14_LTDC;
  HAL_GPIO_Init(GPIOG, &GPIO_InitStruct);

  /*Configure GPIO pins : HSYNC_Pin G6_Pin R2_Pin */
  GPIO_InitStruct.Pin = HSYNC_Pin|G6_Pin|R2_Pin;
  GPIO_InitStruct.Mode = GPIO_MODE_AF_PP;
  GPIO_InitStruct.Pull = GPIO_NOPULL;
  GPIO_InitStruct.Speed = GPIO_SPEED_FREQ_LOW;
  GPIO_InitStruct.Alternate = GPIO_AF14_LTDC;
  HAL_GPIO_Init(GPIOC, &GPIO_InitStruct);

  /*Configure GPIO pin : I2C3_SDA_Pin */
  GPIO_InitStruct.Pin = I2C3_SDA_Pin;
  GPIO_InitStruct.Mode = GPIO_MODE_AF_OD;
  GPIO_InitStruct.Pull = GPIO_NOPULL;
  GPIO_InitStruct.Speed = GPIO_SPEED_FREQ_LOW;
  GPIO_InitStruct.Alternate = GPIO_AF4_I2C3;
  HAL_GPIO_Init(I2C3_SDA_GPIO_Port, &GPIO_InitStruct);

  /*Configure GPIO pin : I2C3_SCL_Pin */
  GPIO_InitStruct.Pin = I2C3_SCL_Pin;
  GPIO_InitStruct.Mode = GPIO_MODE_AF_OD;
  GPIO_InitStruct.Pull = GPIO_NOPULL;
  GPIO_InitStruct.Speed = GPIO_SPEED_FREQ_LOW;
  GPIO_InitStruct.Alternate = GPIO_AF4_I2C3;
  HAL_GPIO_Init(I2C3_SCL_GPIO_Port, &GPIO_InitStruct);

  /*Configure GPIO pins : STLINK_RX_Pin STLINK_TX_Pin */
  GPIO_InitStruct.Pin = STLINK_RX_Pin|STLINK_TX_Pin;
  GPIO_InitStruct.Mode = GPIO_MODE_AF_PP;
  GPIO_InitStruct.Pull = GPIO_NOPULL;
  GPIO_InitStruct.Speed = GPIO_SPEED_FREQ_VERY_HIGH;
  GPIO_InitStruct.Alternate = GPIO_AF7_USART1;
  HAL_GPIO_Init(GPIOA, &GPIO_InitStruct);

  /*Configure GPIO pins : G7_Pin B2_Pin */
  GPIO_InitStruct.Pin = G7_Pin|B2_Pin;
  GPIO_InitStruct.Mode = GPIO_MODE_AF_PP;
  GPIO_InitStruct.Pull = GPIO_NOPULL;
  GPIO_InitStruct.Speed = GPIO_SPEED_FREQ_LOW;
  GPIO_InitStruct.Alternate = GPIO_AF14_LTDC;
  HAL_GPIO_Init(GPIOD, &GPIO_InitStruct);

  /*Configure GPIO pins : G3_Pin B4_Pin */
  GPIO_InitStruct.Pin = G3_Pin|B4_Pin;
  GPIO_InitStruct.Mode = GPIO_MODE_AF_PP;
  GPIO_InitStruct.Pull = GPIO_NOPULL;
  GPIO_InitStruct.Speed = GPIO_SPEED_FREQ_LOW;
  GPIO_InitStruct.Alternate = GPIO_AF9_LTDC;
  HAL_GPIO_Init(GPIOG, &GPIO_InitStruct);

  /*Configure GPIO pins : LD3_Pin LD4_Pin */
  GPIO_InitStruct.Pin = LD3_Pin|LD4_Pin;
  GPIO_InitStruct.Mode = GPIO_MODE_OUTPUT_PP;
  GPIO_InitStruct.Pull = GPIO_NOPULL;
  GPIO_InitStruct.Speed = GPIO_SPEED_FREQ_LOW;
  HAL_GPIO_Init(GPIOG, &GPIO_InitStruct);

  /*Configure GPIO pins : SDCKE1_Pin SDNE1_Pin */
  GPIO_InitStruct.Pin = SDCKE1_Pin|SDNE1_Pin;
  GPIO_InitStruct.Mode = GPIO_MODE_AF_PP;
  GPIO_InitStruct.Pull = GPIO_NOPULL;
  GPIO_InitStruct.Speed = GPIO_SPEED_FREQ_VERY_HIGH;
  GPIO_InitStruct.Alternate = GPIO_AF12_FMC;
  HAL_GPIO_Init(GPIOB, &GPIO_InitStruct);

}

/* USER CODE BEGIN 4 */

static void led_green_handler(void* parameters)
{

	/************* for Delay Until *************************/
	TickType_t last_wakeup_time;

	last_wakeup_time = xTaskGetTickCount();

	while(1)
		{
			SEGGER_SYSVIEW_PrintfTarget("Toggling green LED");
			HAL_GPIO_TogglePin(GPIOG, LED_GREEN_PIN);
			vTaskDelayUntil(&last_wakeup_time,pdMS_TO_TICKS(1000));			//RTOS delay make periodic
		}

	/**********************************************************/

#if 0
	while(1)
	{
		SEGGER_SYSVIEW_PrintfTarget("Toggling green LED");
		HAL_GPIO_TogglePin(GPIOG, LED_GREEN_PIN);
		//HAL_Delay(1000);			//blocking delay
		vTaskDelay(pdMS_TO_TICKS(1000));			//RTOS delay make CPU Idle
	}

#endif

}

static void led_red_handler(void* parameters)
{
	   /************* for Delay Until *************************/
		TickType_t last_wakeup_time;

		last_wakeup_time = xTaskGetTickCount();

		while(1)
			{
				SEGGER_SYSVIEW_PrintfTarget("Toggling red LED");
				HAL_GPIO_TogglePin(GPIOG, LED_RED_PIN);
				vTaskDelayUntil(&last_wakeup_time,pdMS_TO_TICKS(800));			//RTOS delay make periodic
			}

		/**********************************************************/
#if 0
	while(1)
	{
		SEGGER_SYSVIEW_PrintfTarget("Toggling red LED");
		HAL_GPIO_TogglePin(GPIOG, LED_RED_PIN);
		//HAL_Delay(800);			//blocking delay
		vTaskDelay(pdMS_TO_TICKS(800));			//RTOS delay make CPU Idle
	}
#endif

}

/* USER CODE END 4 */

void HAL_TIM_PeriodElapsedCallback(TIM_HandleTypeDef *htim)
{
  if (htim->Instance == TIM6) {
    HAL_IncTick();
  }
}

void Error_Handler(void)
{
  __disable_irq();
  while (1)
  {
  }
}

/************************ (C) COPYRIGHT STMicroelectronics *****END OF FILE****/
